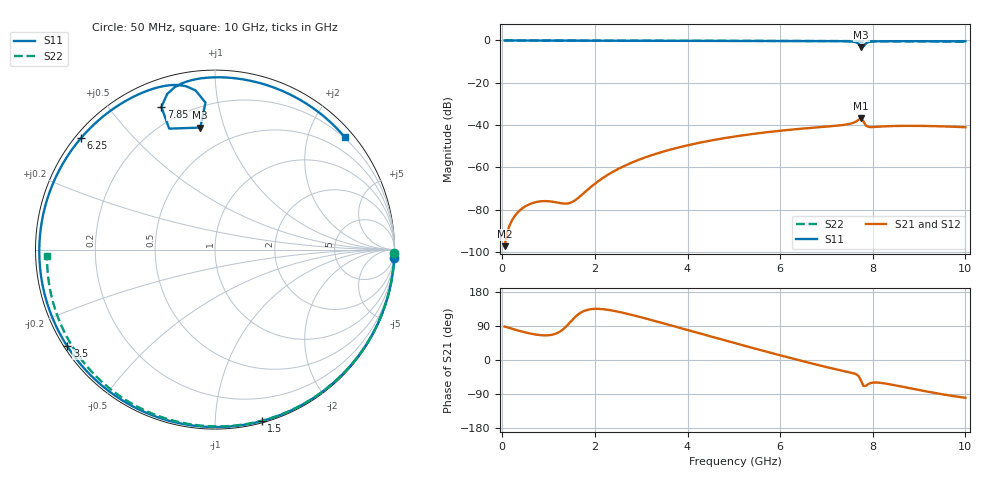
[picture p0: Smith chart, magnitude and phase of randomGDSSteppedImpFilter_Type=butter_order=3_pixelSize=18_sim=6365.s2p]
! freq	dB(S11)	phase(S11)	dB(S12)	phase(S12)
!  dB(S21)	phase(S21)	dB(S22)	phase(S22)
!S-par simulation data
#  GHz  S  DB  R 50
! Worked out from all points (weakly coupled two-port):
!   200 points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, 50 MHz to 10 GHz, reference 50 ohm
!   highest |S21| = -36.87 dB at 7.75 GHz (marker M1); lowest = -97.3 dB at 50 MHz (marker M2)
!   lowest |S11| = -3.3 dB at 7.75 GHz (marker M3), VSWR 5.34, Z = 16.3 + j41.6 ohm
!   |S11| at or under -10 dB: nowhere
!   |S22| runs from -0.6 to 0.0 dB; largest |S21 - S12| = 0
!   S11 on the Smith chart (normalised r, x): 50 MHz: 0, -42; 1.5 GHz: 0.01, -1.31; 3.5 GHz: 0.01, -0.30; 6.25 GHz: 0.02, +0.36; 7.85 GHz: 0.12, +0.69; 10 GHz: 0.18, +2.67
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0.05  -0.00 -2.7  -97.29 88.3  -97.29 88.3  -0.00 -1.1
0.4  -0.03 -21.2  -79.97 75.8  -79.97 75.8  -0.01 -8.3
0.6  -0.04 -31.6  -77.33 70.0  -77.33 70.0  -0.02 -12.4
0.85  -0.06 -44.2  -76.03 65.3  -76.03 65.3  -0.02 -17.6
1.5  -0.09 -74.7  -76.52 104.2  -76.52 104.2  -0.04 -30.8
1.75  -0.10 -85.4  -72.39 128.5  -72.39 128.5  -0.05 -35.8
2.45  -0.12 -112.6  -61.39 128.8  -61.39 128.8  -0.06 -49.6
3.4  -0.14 -143.8  -53.05 99.4  -53.05 99.4  -0.09 -67.6
3.5  -0.14 -146.8  -52.41 96.1  -52.41 96.1  -0.09 -69.5
4.25  -0.17 -168.0  -48.41 70.5  -48.41 70.5  -0.12 -83.0
5.05  -0.20 170.9  -45.33 43.6  -45.33 43.6  -0.15 -97.0
6.25  -0.25 140.4  -42.16 4.4  -42.16 4.4  -0.21 -117.0
6.7  -0.28 128.7  -41.28 -9.6  -41.28 -9.6  -0.24 -124.3
7.55  -0.54 102.7  -39.18 -33.9  -39.18 -33.9  -0.31 -138.0
7.65  -0.98 97.0  -38.20 -38.1  -38.20 -38.1  -0.31 -139.6
7.75  -3.29 96.9  -36.87 -55.5  -36.87 -55.5  -0.32 -141.2
7.8  -2.84 110.8  -38.31 -68.5  -38.31 -68.5  -0.33 -142.0
7.85  -1.42 110.6  -40.15 -68.1  -40.15 -68.1  -0.33 -142.8
8  -0.50 101.5  -40.96 -59.7  -40.96 -59.7  -0.35 -145.2
8.35  -0.35 89.0  -40.53 -63.8  -40.53 -63.8  -0.38 -150.8
9.15  -0.35 65.6  -40.44 -82.7  -40.44 -82.7  -0.47 -163.7
10  -0.38 40.9  -41.04 -99.7  -41.04 -99.7  -0.57 -177.9
